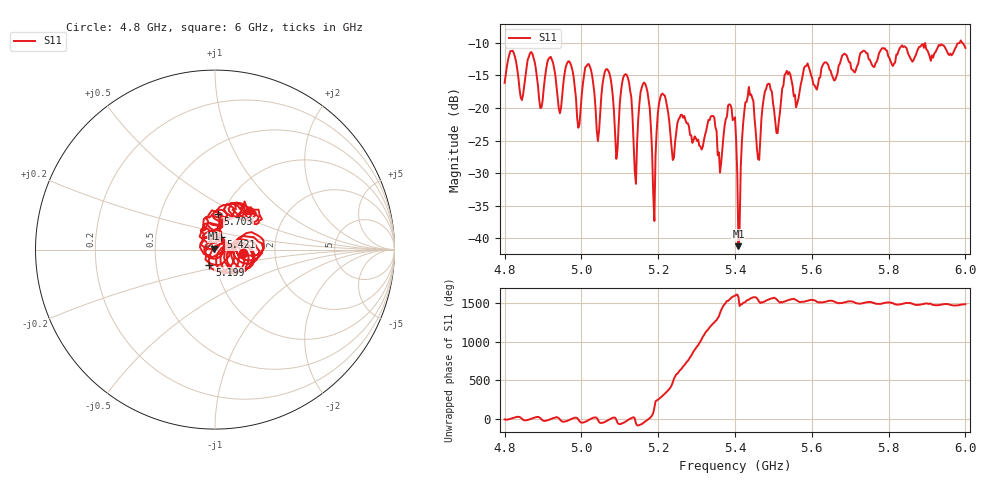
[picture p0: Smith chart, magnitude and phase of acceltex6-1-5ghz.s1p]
! NanoVNA-App
! Date: 2026-05-15 12:06:25
! Start: 4.8GHz Stop: 6GHz Points: 401
! S-Parameter data: F S11
# Hz S RI R 50
!  Frequency  S11_Real  S11_Imag
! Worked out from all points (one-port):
!   401 points, 4.8 GHz to 6 GHz, reference 50 ohm
!   lowest |S11| = -41.2 dB at 5.409 GHz (marker M1), VSWR 1.02, Z = 49.3 + j0.539 ohm
!   |S11| at or under -10 dB: start of sweep to 5.985 GHz; 5.991693 GHz to end of sweep
!   S11 on the Smith chart (normalised r, x): 4.8 GHz: 1.37, -0.05; 5.199 GHz: 0.93, -0.16; 5.421 GHz: 1.05, +0.14; 5.703 GHz: 0.95, +0.39; 6 GHz: 1.31, +0.62
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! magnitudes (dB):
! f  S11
! 4.8 GHz  -16.2
! 4.869 GHz  -11.4
! 4.896 GHz  -19.9
! 4.92 GHz  -12.2
! 4.95 GHz  -18.1
! 4.968 GHz  -12.8
! 4.995 GHz  -22.5
! 5.019 GHz  -13.3
! 5.043 GHz  -25.1
! 5.067 GHz  -14.1
! 5.091 GHz  -27.8
! 5.1 GHz  -19.3
! 5.118 GHz  -14.9
! 5.142 GHz  -31.6
! 5.166 GHz  -16.3
! 5.19 GHz  -37.3
! 5.199 GHz  -20.8
! 5.25 GHz  -22.3
! 5.4 GHz  -21.4
! 5.409 GHz  -41.2
! 5.421 GHz  -22.5
! 5.46 GHz  -27.8
! 5.484 GHz  -16.4
! 5.55 GHz  -16.6
! 5.7 GHz  -13.0
! 5.703 GHz  -14.1
! 5.85 GHz  -11.5
! 6 GHz  -10.8
